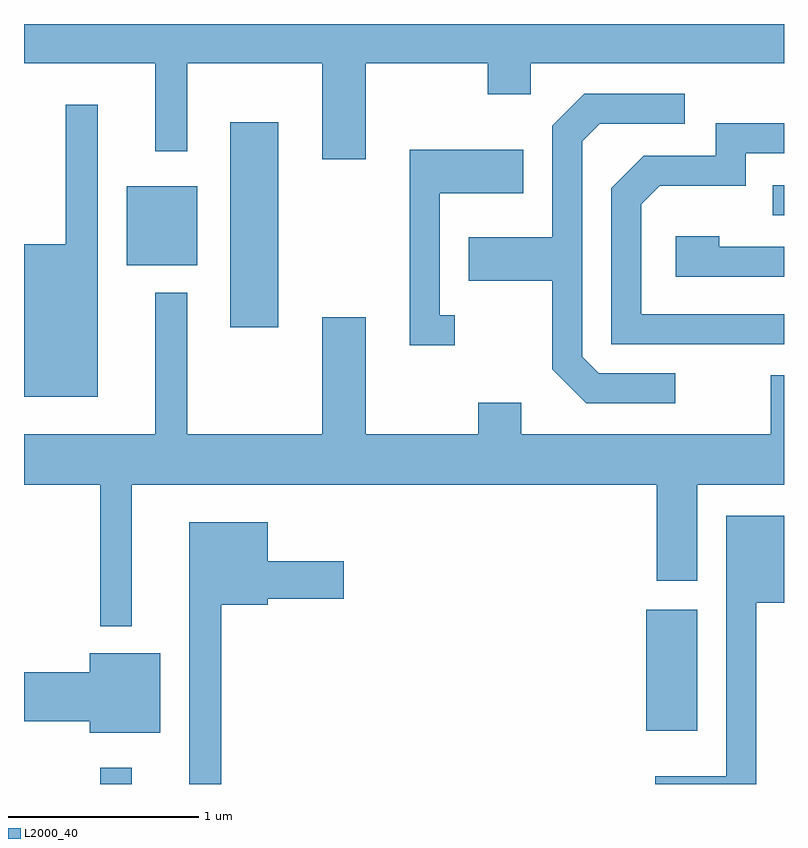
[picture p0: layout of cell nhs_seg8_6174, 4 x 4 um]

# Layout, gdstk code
import gdstk
lib = gdstk.Library(unit=1e-6, precision=1e-09)
def R(c, l, rs):  # rectangles x0, y0, x1, y1
    for r in rs: c.add(gdstk.rectangle(r[:2], r[2:], *l))
def P(c, l, *ps):  # polygons
    for p in ps: c.add(gdstk.Polygon(p, *l))
L2000_40 = (2000, 40)

nhs_seg8_6174 = lib.new_cell('nhs_seg8_6174')
R(nhs_seg8_6174, L2000_40, [(370.011,1890.342,370.179,1890.428), (372.886,1890.621,373.154,1891.259), (370.696,1892.746,370.949,1893.824), (370.151,1893.071,370.524,1893.489), (373.553,1893.336,373.611,1893.494)])
P(nhs_seg8_6174, L2000_40, [(371.409,1894.136),(372.051,1894.136),(372.051,1893.971),(372.279,1893.971),(372.279,1894.136),(373.611,1894.136),(373.611,1894.342),(369.611,1894.342),(369.611,1894.136),(370.301,1894.136),(370.301,1893.673),(370.469,1893.673),(370.469,1894.136),(371.181,1894.136),(371.181,1893.631),(371.409,1893.631)],
  [(373.038,1892.504),(372.637,1892.504),(372.549,1892.592),(372.549,1893.724),(372.642,1893.816),(373.088,1893.816),(373.088,1893.974),(372.559,1893.974),(372.391,1893.807),(372.391,1893.219),(371.951,1893.219),(371.951,1892.991),(372.391,1892.991),(372.391,1892.524),(372.569,1892.346),(373.038,1892.346)],
  [(369.999,1893.918),(369.831,1893.918),(369.831,1893.184),(369.611,1893.184),(369.611,1892.381),(369.999,1892.381)],
  [(373.611,1892.814),(372.859,1892.814),(372.859,1893.394),(372.957,1893.491),(373.409,1893.491),(373.409,1893.661),(373.611,1893.661),(373.611,1893.819),(373.251,1893.819),(373.251,1893.649),(372.874,1893.649),(372.701,1893.477),(372.701,1892.656),(373.611,1892.656)],
  [(371.878,1892.809),(371.799,1892.809),(371.799,1893.451),(372.239,1893.451),(372.239,1893.679),(371.641,1893.679),(371.641,1892.651),(371.878,1892.651)],
  [(373.611,1893.169),(373.269,1893.169),(373.269,1893.224),(373.041,1893.224),(373.041,1893.011),(373.611,1893.011)],
  [(370.179,1891.916),(372.941,1891.916),(372.941,1891.411),(373.154,1891.411),(373.154,1891.916),(373.611,1891.916),(373.611,1892.494),(373.541,1892.494),(373.541,1892.184),(372.229,1892.184),(372.229,1892.349),(372.001,1892.349),(372.001,1892.184),(371.409,1892.184),(371.409,1892.799),(371.181,1892.799),(371.181,1892.184),(370.469,1892.184),(370.469,1892.928),(370.301,1892.928),(370.301,1892.184),(369.611,1892.184),(369.611,1891.916),(370.011,1891.916),(370.011,1891.173),(370.179,1891.173)],
  [(373.464,1891.296),(373.611,1891.296),(373.611,1891.754),(373.306,1891.754),(373.306,1890.384),(372.933,1890.384),(372.933,1890.342),(373.464,1890.342)],
  [(370.649,1891.286),(370.894,1891.286),(370.894,1891.316),(371.294,1891.316),(371.294,1891.514),(370.894,1891.514),(370.894,1891.719),(370.481,1891.719),(370.481,1890.342),(370.649,1890.342)],
  [(370.329,1891.029),(369.956,1891.029),(369.956,1890.929),(369.611,1890.929),(369.611,1890.671),(369.956,1890.671),(369.956,1890.611),(370.329,1890.611)])

lib.write_gds('nhs_seg8_6174.gds')
